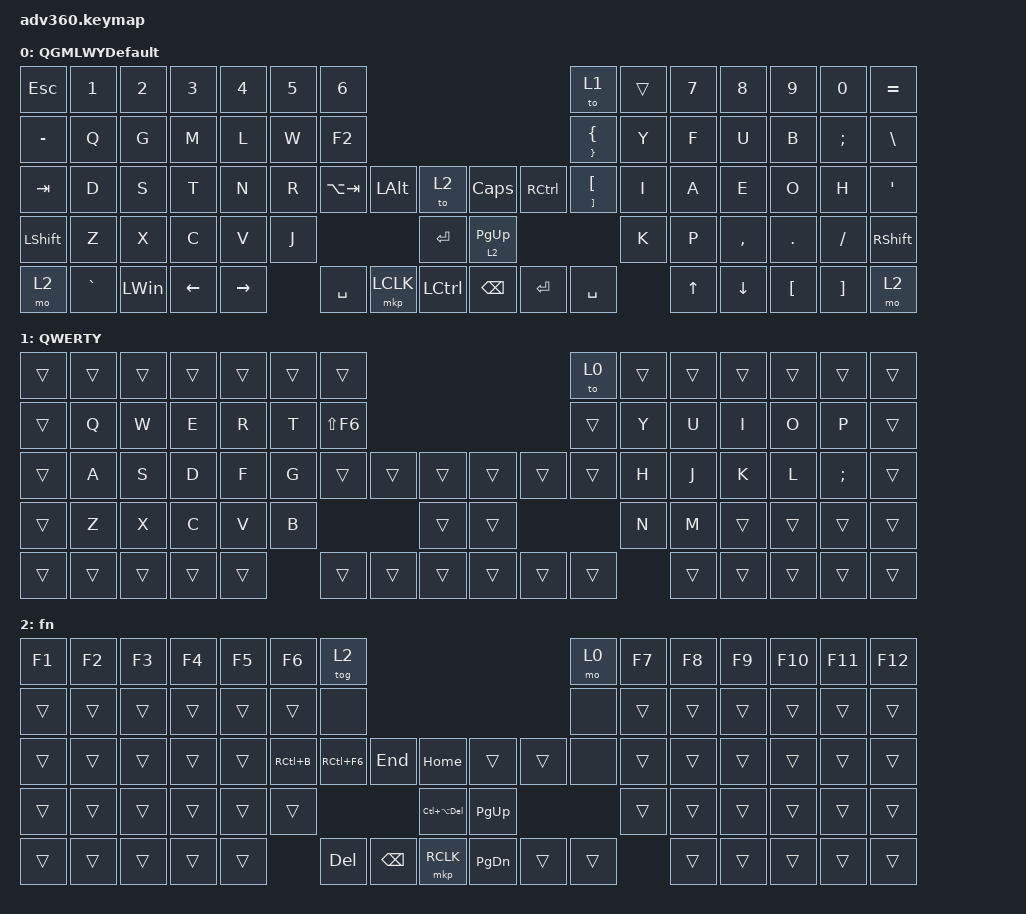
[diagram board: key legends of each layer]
#include <behaviors.dtsi>
#include <dt-bindings/zmk/keys.h>
#include <dt-bindings/zmk/mouse.h>

/ {
    behaviors {
        #include "macros.dtsi"
      #include "version.dtsi"
      #ifndef VERSION_MACRO


        #endif

        hm: homerow_mods {
            compatible = "zmk,behavior-hold-tap";
            label = "HOMEROW_MODS";
            #binding-cells = <2>;
            tapping-term-ms = <200>;
            quick_tap_ms = <175>;
            flavor = "tap-preferred";
            bindings = <&kp>, <&kp>;
        };
    };

    combos {
        compatible = "zmk,combos";

        mouseright {
            bindings = <&mkp RCLK>;
            key-positions = <67 66>;
        };
    };

    keymap {
        compatible = "zmk,keymap";

        QGMLWYDefault {
            bindings = <
&kp ESCAPE      &kp N1     &kp N2        &kp N3    &kp N4     &kp N5  &kp NUMBER_6                                                          &to 1                           &trans  &kp N7  &kp N8     &kp N9    &kp N0         &kp EQUAL
&kp MINUS       &kp Q      &kp G         &kp M     &kp L      &kp W   &kp F2                                                                &mt RIGHT_BRACE LEFT_BRACE      &kp Y   &kp F   &kp U      &kp B     &kp SEMICOLON  &kp BSLH
&kp TAB         &kp D      &kp S         &kp T     &kp N      &kp R   &kp LA(TAB)   &kp LEFT_ALT  &to 2           &kp CAPSLOCK   &kp RCTRL  &mt RIGHT_BRACKET LEFT_BRACKET  &kp I   &kp A   &kp E      &kp O     &kp H          &kp SQT
&kp LEFT_SHIFT  &kp Z      &kp X         &kp C     &kp V      &kp J                               &kp RETURN      &lt 2 PG_UP                                               &kp K   &kp P   &kp COMMA  &kp DOT   &kp FSLH       &kp RSHFT
&mo 2           &kp GRAVE  &kp LEFT_WIN  &kp LEFT  &kp RIGHT          &kp SPACE     &mkp LCLK     &kp LCTRL       &kp BACKSPACE  &kp ENTER  &kp SPACE                               &kp UP  &kp DOWN   &kp LBKT  &kp RBKT       &mo 2
            >;
        };

        QWERTY {
            bindings = <
&trans  &trans  &trans  &trans  &trans  &trans  &trans                                          &to 0   &trans  &trans  &trans  &trans  &trans    &trans
&trans  &kp Q   &kp W   &kp E   &kp R   &kp T   &kp LS(F6)                                      &trans  &kp Y   &kp U   &kp I   &kp O   &kp P     &trans
&trans  &kp A   &kp S   &kp D   &kp F   &kp G   &trans      &trans  &trans      &trans  &trans  &trans  &kp H   &kp J   &kp K   &kp L   &kp SEMI  &trans
&trans  &kp Z   &kp X   &kp C   &kp V   &kp B                       &trans      &trans                  &kp N   &kp M   &trans  &trans  &trans    &trans
&trans  &trans  &trans  &trans  &trans          &trans      &trans  &trans      &trans  &trans  &trans          &trans  &trans  &trans  &trans    &trans
            >;
        };

        fn {
            bindings = <
&kp F1  &kp F2  &kp F3  &kp F4  &kp F5  &kp F6     &tog 2                                                                    &mo 0   &kp F7  &kp F8  &kp F9  &kp F10  &kp F11  &kp F12
&trans  &trans  &trans  &trans  &trans  &trans     &none                                                                     &none   &trans  &trans  &trans  &trans   &trans   &trans
&trans  &trans  &trans  &trans  &trans  &kp RC(B)  &kp RC(F6)  &kp END        &kp HOME                &trans         &trans  &none   &trans  &trans  &trans  &trans   &trans   &trans
&trans  &trans  &trans  &trans  &trans  &trans                                &kp LC(LA(DELETE))      &kp PAGE_UP                    &trans  &trans  &trans  &trans   &trans   &trans
&trans  &trans  &trans  &trans  &trans             &kp DELETE  &kp BACKSPACE  &mkp RCLK               &kp PAGE_DOWN  &trans  &trans          &trans  &trans  &trans   &trans   &trans
            >;
        };
    };
};
